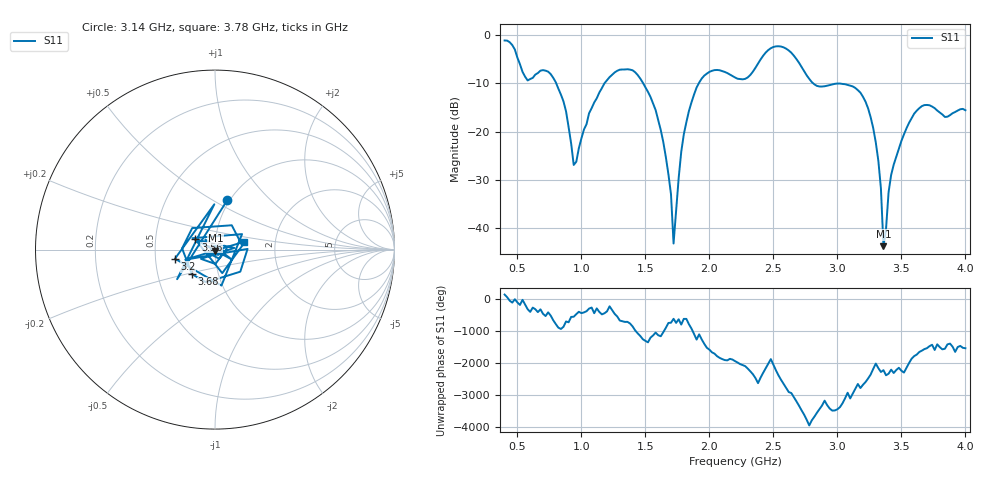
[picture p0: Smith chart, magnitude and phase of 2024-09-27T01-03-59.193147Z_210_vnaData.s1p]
!Created with skrf (http://scikit-rf.org).
# Hz S RI R 50.0
!freq ReS11 ImS11
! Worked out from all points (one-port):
!   181 points, 400 MHz to 4 GHz, reference 50 ohm
!   lowest |S11| = -43.7 dB at 3.36 GHz (marker M1), VSWR 1.01, Z = 50.2 - j0.625 ohm
!   |S11| at or under -10 dB: 802.8 MHz to 1.181 GHz (377.9 MHz wide, 38.1 % of centre); 1.482 GHz to 1.918 GHz (435.5 MHz wide, 25.6 % of centre); 2.81 GHz to end of sweep
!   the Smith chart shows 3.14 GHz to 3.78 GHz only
!   S11 on the Smith chart (normalised r, x): 3.14 GHz: 0.97, +0.58; 3.2 GHz: 0.63, -0.07; 3.56 GHz: 0.80, +0.09; 3.68 GHz: 0.75, -0.21; 3.78 GHz: 1.37, +0.12
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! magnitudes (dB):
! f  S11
! 400 MHz  -1.2
! 580 MHz  -9.4
! 740 MHz  -7.6
! 860 MHz  -13.8
! 940 MHz  -26.9
! 1.1 GHz  -14.0
! 1.3 GHz  -7.2
! 1.58 GHz  -15.6
! 1.68 GHz  -28.8
! 1.72 GHz  -43.1
! 1.76 GHz  -29.6
! 1.82 GHz  -18.1
! 1.92 GHz  -9.9
! 2.2 GHz  -8.8
! 2.5 GHz  -2.5
! 2.66 GHz  -4.3
! 2.84 GHz  -10.6
! 3.1 GHz  -10.5
! 3.14 GHz  -11.0
! 3.2 GHz  -12.8
! 3.32 GHz  -26.0
! 3.34 GHz  -31.7
! 3.36 GHz  -43.7
! 3.42 GHz  -28.9
! 3.56 GHz  -18.2
! 3.68 GHz  -14.5
! 3.78 GHz  -15.6
! 4 GHz  -15.6
